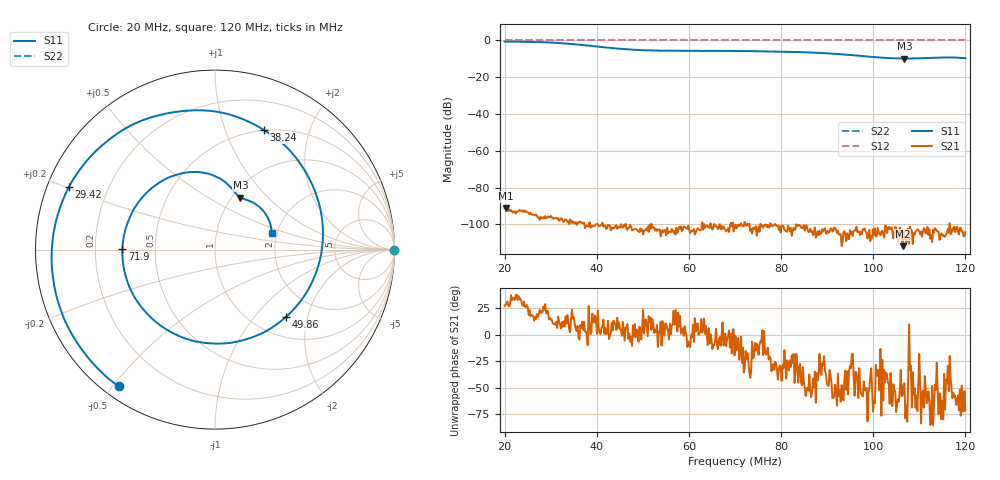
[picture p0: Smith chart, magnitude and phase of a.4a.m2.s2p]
! Anritsu VNA Master:  Model: MS2036C/10/77
! SN:  1601066
! /bd0/18may09/254.ew.m2.s2p
! Existing Calibration Information:
! TYPE:  Current Settings,  Active Cal Settings
! TIME:  05/09/2018 10:13:27 AM,  05/09/2018 10:08:40 AM
! INTERNAL TEMP:  48.5 C,  48.0 C
! # POINTS:  500,  500
! START FREQ:  20.000 MHz,  20.000 MHz
! STOP FREQ:  120.000 MHz,  120.000 MHz
! SOURCE POWER:  High,  High
! IFBW:  50 Hz,  50 Hz
! AVG FACTOR:  1 ,  1
! REF PLANE 1:  0 mm,  0 mm
! REF PLANE 2:  0 mm,  0 mm
! CAL TYPE:  Full S11,  Full S11
! CAL METHOD:  SOLT,  SOLT
! CAL LINE TYPE:  Coax,  Coax
! DUT PORT 1:  K-Conn(F),  K-Conn(F)
! DUT PORT 2:  K-Conn(F),  K-Conn(F)
! CAL STATUS:  OK: Accuracy High,  --
# GHZ S DB R 50.0
! FREQ.GHZ  S11DB  S11A  S21DB  S21A  S12DB  S12A  S22DB  S22A
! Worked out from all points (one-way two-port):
!   500 points, 20 MHz to 120 MHz, reference 50 ohm
!   highest |S21| = -91.25 dB at 20.2 MHz (marker M1); lowest = -111.9 dB at 106.4 MHz (marker M2)
!   lowest |S11| = -9.8 dB at 106.8 MHz (marker M3), VSWR 1.95, Z = 54.6 + j35.3 ohm
!   |S11| at or under -10 dB: nowhere
!   |S22| runs from 0.0 to 0.0 dB; largest |S21 - S12| = 1
!   S11 on the Smith chart (normalised r, x): 20 MHz: 0.04, -0.52; 29.42 MHz: 0.06, +0.20; 38.24 MHz: 0.49, +1.37; 49.86 MHz: 1.38, -1.48; 71.9 MHz: 0.32, +0.00; 120 MHz: 1.87, +0.38
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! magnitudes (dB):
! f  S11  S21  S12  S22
! 20 MHz  -0.6  -91.3  0.0  0.0
! 20.2 MHz  -0.6  -91.2  0.0  0.0
! 25.01 MHz  -0.7  -93.4  0.0  0.0
! 29.42 MHz  -1.1  -95.8  0.0  0.0
! 32.83 MHz  -1.6  -98.8  0.0  0.0
! 36.83 MHz  -2.5  -99.4  0.0  0.0
! 38.24 MHz  -2.9  -101.1  0.0  0.0
! 44.65 MHz  -4.4  -101.4  0.0  0.0
! 49.86 MHz  -5.3  -102.7  0.0  0.0
! 53.47 MHz  -5.5  -103.3  0.0  0.0
! 70.1 MHz  -5.7  -100.2  0.0  0.0
! 71.9 MHz  -5.7  -101.2  0.0  0.0
! 79.92 MHz  -6.0  -104.6  0.0  0.0
! 86.73 MHz  -6.6  -103.7  0.0  0.0
! 92.14 MHz  -7.3  -104.7  0.0  0.0
! 100.6 MHz  -9.1  -106.5  0.0  0.0
! 103.4 MHz  -9.6  -101.3  0.0  0.0
! 106.4 MHz  -9.8  -111.9  0.0  0.0
! 106.8 MHz  -9.8  -107.5  0.0  0.0
! 116 MHz  -9.2  -104.3  0.0  0.0
! 118 MHz  -9.3  -101.8  0.0  0.0
! 120 MHz  -9.7  -104.2  0.0  0.0
